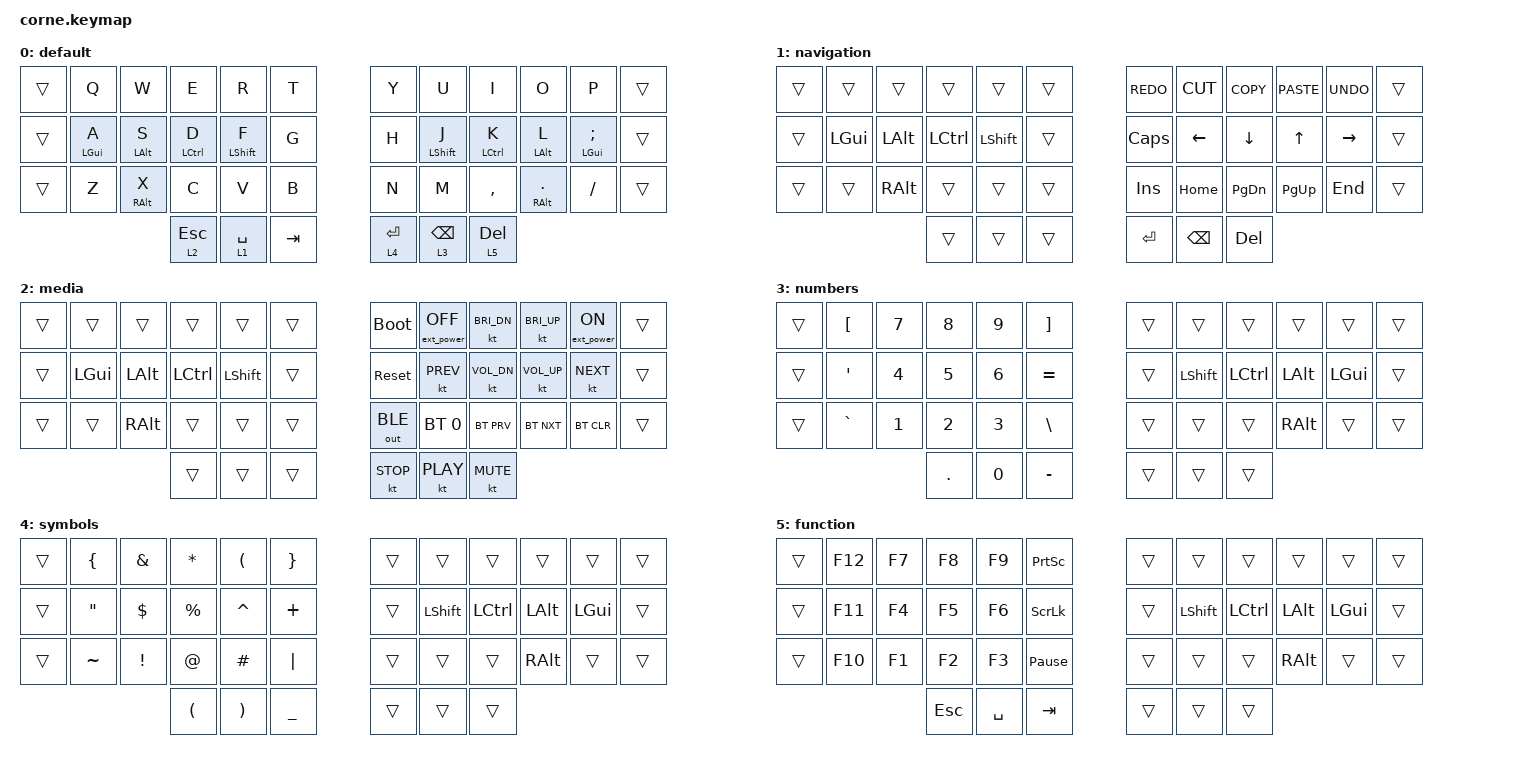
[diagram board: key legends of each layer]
#include <behaviors.dtsi>
#include <dt-bindings/zmk/bt.h>
#include <dt-bindings/zmk/ext_power.h>
#include <dt-bindings/zmk/keys.h>
#include <dt-bindings/zmk/outputs.h>

// Layer Definitions

#define COLEMAK 0
#define QWERTY 1
#define GAMING_COLEMAK 2
#define GAMING_QWERTY 3
#define LAYERS 4
#define NAV 5
#define MOUSE 6
#define MEDIA 7
#define NUM 8
#define SYM 9
#define FN 10

// Behavior configuration

&mt {
    tapping-term-ms = <200>;
    quick_tap_ms = <0>;
    flavor = "tap-preferred";
};

&lt {
    tapping-term-ms = <200>;
    quick_tap_ms = <0>;
    flavor = "tap-preferred";
};

&sk {
    release-after-ms = <500>;
    quick-release;
};

// Keymap configuration (Colemak-DHm)

/ {
    keymap {
        compatible = "zmk,keymap";

        default {
            // -----------------------------------------------------------------------------------------------------------------------------
            // |        |   Q    |   W    |     F     |     P     |     B     | # |     J     |    L     |    U    |    Y   |   '    |     |
            // | LAYERS | A/LGUI | R/LALT |  S/LCTRL  |  T/LSHFT  |     G     | # |     M     | N/LSHFT  | E/LCTRL | I/LALT | O/LGUI |     |
            // |        |   Z    | X/RALT |     C     |     D     |     V     | # |     K     |    H     |    ,    | ./RALT |   /    |     |
            //                            | ESC/MEDIA | SPACE/NAV | TAB/MOUSE | # | ENTER/SYM | BSPC/NUM | DEL/FN  |

            bindings = <
&trans  &kp Q       &kp W       &kp E        &kp R        &kp T      &kp Y        &kp U        &kp I        &kp O         &kp P          &trans
&trans  &mt LGUI A  &mt LALT S  &mt LCTRL D  &mt LSHFT F  &kp G      &kp H        &mt LSHFT J  &mt LCTRL K  &mt LALT L    &mt LGUI SEMI  &trans
&trans  &kp Z       &mt RALT X  &kp C        &kp V        &kp B      &kp N        &kp M        &kp COMMA    &mt RALT DOT  &kp FSLH       &trans
                                &lt 2 ESC    &lt 1 SPACE  &kp TAB    &lt 4 ENTER  &lt 3 BSPC   &lt 5 DEL
            >;
        };

        navigation {
            // -------------------------------------------------------------------------------------------
            // |     |      |      |       |       |     | # | REDO  | CUT  | COPY | PASTE | UNDO  |     |
            // |     | LGUI | LALT | LCTRL | LSHFT |     | # | CAPS  | LEFT | DOWN | UP    | RIGHT |     |
            // |     |      | RALT |       |       |     | # | INS   | HOME | PGDN | PGUP  | END   |     |
            //                     |       | HELD  |     | # | ENTER | BSPC | DEL  |

            bindings = <
&trans  &trans    &trans    &trans     &trans     &trans    &kp K_REDO    &kp K_CUT  &kp K_COPY  &kp K_PASTE  &kp K_UNDO  &trans
&trans  &kp LGUI  &kp LALT  &kp LCTRL  &kp LSHFT  &trans    &kp CAPSLOCK  &kp LEFT   &kp DOWN    &kp UP       &kp RIGHT   &trans
&trans  &trans    &kp RALT  &trans     &trans     &trans    &kp INS       &kp HOME   &kp PG_DN   &kp PG_UP    &kp END     &trans
                            &trans     &trans     &trans    &kp ENTER     &kp BSPC   &kp DEL
            >;
        };

        // TODO
        // Add mouse keys when implemented in ZMK

        media {
            // -----------------------------------------------------------------------------------------------------
            // |     |      |      |       |       |      | # | BOOTLOAD | EP_OFF | BR_D   | BR_U   | EP_ON  |     |
            // |     | LGUI | LALT | LCTRL | LSHFT |      | # | RESET    | PREV   | VOL_D  | VOL_U  | NEXT   |     |
            // |     |      | RALT |       |       |      | # | OUT_BLE  | BT_0   | BT_PRV | BT_NXT | BT_CLR |     |
            //                     | HELD  |       |      | # | STOP     | PLAY   | MUTE   |

            bindings = <
&trans  &trans    &trans    &trans     &trans     &trans    &bootloader   &ext_power EP_OFF  &kt C_BRI_DN  &kt C_BRI_UP  &ext_power EP_ON  &trans
&trans  &kp LGUI  &kp LALT  &kp LCTRL  &kp LSHFT  &trans    &sys_reset    &kt C_PREV         &kt C_VOL_DN  &kt C_VOL_UP  &kt C_NEXT        &trans
&trans  &trans    &kp RALT  &trans     &trans     &trans    &out OUT_BLE  &bt BT_SEL 0       &bt BT_PRV    &bt BT_NXT    &bt BT_CLR        &trans
                            &trans     &trans     &trans    &kt C_STOP    &kt C_PLAY         &kt C_MUTE
            >;
        };

        numbers {
            // -----------------------------------------------------------------------------------
            // |     |  [  |  7  |  8  |  9  |  ]  | # |     |       |       |      |      |     |
            // |     |  ;  |  4  |  5  |  6  |  =  | # |     | LSHFT | LCTRL | LALT | LGUI |     |
            // |     |  `  |  1  |  2  |  3  |  \  | # |     |       |       | RALT |      |     |
            //                   |  .  |  0  |  -  | # |     | HELD  |       |

            bindings = <
&trans  &kp LBKT   &kp N7  &kp N8   &kp N9  &kp RBKT     &trans  &trans     &trans     &trans    &trans    &trans
&trans  &kp SQT    &kp N4  &kp N5   &kp N6  &kp EQUAL    &trans  &kp LSHFT  &kp LCTRL  &kp LALT  &kp LGUI  &trans
&trans  &kp GRAVE  &kp N1  &kp N2   &kp N3  &kp BSLH     &trans  &trans     &trans     &kp RALT  &trans    &trans
                           &kp DOT  &kp N0  &kp MINUS    &trans  &trans     &trans
            >;
        };

        symbols {
            // ------------------------------------------------------------------------------------
            // |     |  {  |  &  |  *  |  (  |  }  | # |      |       |       |      |      |     |
            // |     |  :  |  $  |  %  |  ^  |  +  | # |      | LSHFT | LCTRL | LALT | LGUI |     |
            // |     |  ~  |  !  |  @  |  #  |  |  | # |      |       |       | RALT |      |     |
            //                   |  (  |  )  |  _  | # | HELD |       |       |

            bindings = <
&trans  &kp LBRC   &kp AMPS  &kp ASTRK  &kp LPAR   &kp RBRC          &trans  &trans     &trans     &trans    &trans    &trans
&trans  &kp DQT    &kp DLLR  &kp PRCNT  &kp CARET  &kp PLUS          &trans  &kp LSHFT  &kp LCTRL  &kp LALT  &kp LGUI  &trans
&trans  &kp TILDE  &kp EXCL  &kp AT     &kp HASH   &kp PIPE          &trans  &trans     &trans     &kp RALT  &trans    &trans
                             &kp LPAR   &kp RPAR   &kp UNDERSCORE    &trans  &trans     &trans
            >;
        };

        function {
            // ------------------------------------------------------------------------------------------
            // |     |  F12 |  F7  |  F8  |  F9   | PSCRN | # |     |       |       |      |      |     |
            // |     |  F11 |  F4  |  F5  |  F6   | SLCK  | # |     | LSHFT | LCTRL | LALT | LGUI |     |
            // |     |  F10 |  F1  |  F2  |  F3   | PAUSE | # |     |       |       | RALT |      |     |
            //                     | ESC  | SPACE |  TAB  | # |     |       | HELD  |

            bindings = <
&trans  &kp F12  &kp F7  &kp F8   &kp F9     &kp PSCRN          &trans  &trans     &trans     &trans    &trans    &trans
&trans  &kp F11  &kp F4  &kp F5   &kp F6     &kp SLCK           &trans  &kp LSHFT  &kp LCTRL  &kp LALT  &kp LGUI  &trans
&trans  &kp F10  &kp F1  &kp F2   &kp F3     &kp PAUSE_BREAK    &trans  &trans     &trans     &kp RALT  &trans    &trans
                         &kp ESC  &kp SPACE  &kp TAB            &trans  &trans     &trans
            >;
        };
    };
};
